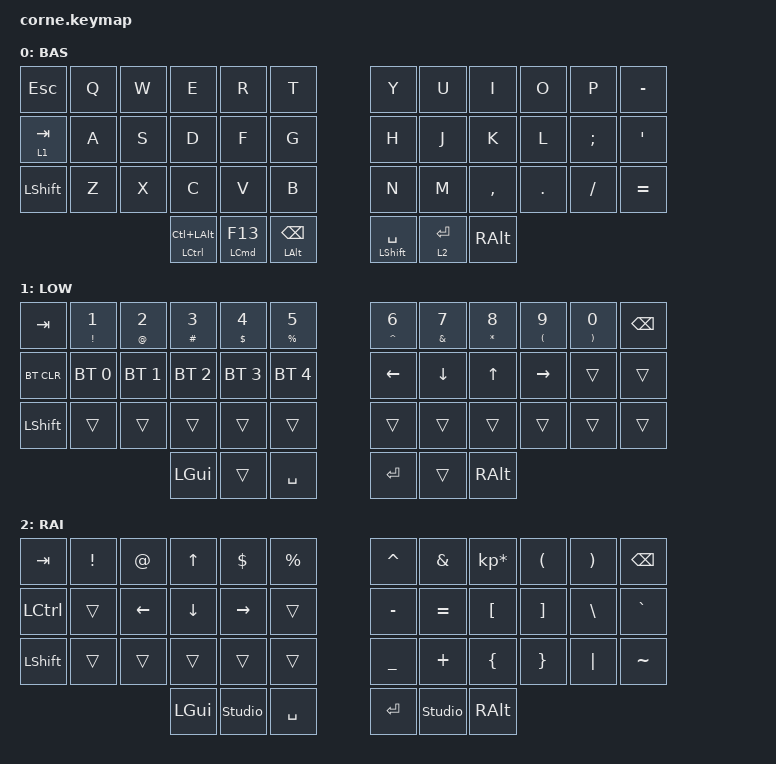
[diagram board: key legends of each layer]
/*
 * Copyright (c) 2020 The ZMK Contributors
 *
 * SPDX-License-Identifier: MIT
 */

#include <dt-bindings/led/led.h>
#include <dt-bindings/zmk/reset.h>
#include <behaviors.dtsi>
#include <dt-bindings/zmk/bt.h>
#include <dt-bindings/zmk/keys.h>

&led_strip { chain-length = <27>; };

/ {
    keymap {
        compatible = "zmk,keymap";

        default_layer {
            display-name = "BAS";

            // -----------------------------------------------------------------------------------------
            // |  TAB |  Q  |  W  |  E  |  R  |  T  |   |  Y  |  U   |  I  |  O  |  P  | BKSP |
            // | CTRL |  A  |  S  |  D  |  F  |  G  |   |  H  |  J   |  K  |  L  |  ;  |  '   |
            // | SHFT |  Z  |  X  |  C  |  V  |  B  |   |  N  |  M   |  ,  |  .  |  /  | ESC  |
            //                    | GUI | LWR | SPC |   | ENT | RSE  | ALT |

            bindings = <
&kp ESCAPE  &kp Q  &kp W  &kp E                          &kp R                 &kp T                     &kp Y                 &kp U      &kp I      &kp O    &kp P     &kp MINUS
&lt 1 TAB   &kp A  &kp S  &kp D                          &kp F                 &kp G                     &kp H                 &kp J      &kp K      &kp L    &kp SEMI  &kp SQT
&kp LSHFT   &kp Z  &kp X  &kp C                          &kp V                 &kp B                     &kp N                 &kp M      &kp COMMA  &kp DOT  &kp FSLH  &kp EQUAL
                          &mt LEFT_CONTROL LC(LEFT_ALT)  &mt LEFT_COMMAND F13  &mt LEFT_ALT BACKSPACE    &mt LEFT_SHIFT SPACE  &lt 2 RET  &kp RALT
            >;
        };

        lower_layer {
            display-name = "LOW";

            // -----------------------------------------------------------------------------------------
            // |  TAB |  1  |  2  |  3  |  4  |  5  |   |  6  |  7  |  8  |  9  |  0  | BKSP |
            // | BTCLR| BT1 | BT2 | BT3 | BT4 | BT5 |   | LFT | DWN |  UP | RGT |     |      |
            // | SHFT |     |     |     |     |     |   |     |     |     |     |     |      |
            //                    | GUI |     | SPC |   | ENT |     | ALT |

            bindings = <
&kp TAB     &mt EXCLAMATION NUMBER_1  &mt AT_SIGN NUMBER_2  &mt HASH NUMBER_3  &mt DOLLAR NUMBER_4  &mt PERCENT N5    &mt CARET NUMBER_6  &mt AMPERSAND N7  &mt ASTERISK N8  &mt LEFT_PARENTHESIS N9  &mt RIGHT_PARENTHESIS N0  &kp BSPC
&bt BT_CLR  &bt BT_SEL 0              &bt BT_SEL 1          &bt BT_SEL 2       &bt BT_SEL 3         &bt BT_SEL 4      &kp LEFT            &kp DOWN          &kp UP           &kp RIGHT                &trans                    &trans
&kp LSHFT   &trans                    &trans                &trans             &trans               &trans            &trans              &trans            &trans           &trans                   &trans                    &trans
                                                            &kp LGUI           &trans               &kp SPACE         &kp RET             &trans            &kp RALT
            >;
        };

        raise_layer {
            display-name = "RAI";

            // -----------------------------------------------------------------------------------------
            // |  TAB |  !  |  @  |  #  |  $  |  %  |   |  ^  |  &  |  *  |  (  |  )  | BKSP |
            // | CTRL |     |     |     |     |     |   |  -  |  =  |  [  |  ]  |  \  |  `   |
            // | SHFT |     |     |     |     |     |   |  _  |  +  |  {  |  }  | "|" |  ~   |
            //                    | GUI |     | SPC |   | ENT |     | ALT |

            bindings = <
&kp TAB    &kp EXCL  &kp AT    &kp UP_ARROW  &kp DLLR        &kp PRCNT    &kp CARET  &kp AMPS        &kp KP_MULTIPLY  &kp LPAR  &kp RPAR  &kp BSPC
&kp LCTRL  &trans    &kp LEFT  &kp DOWN      &kp RIGHT       &trans       &kp MINUS  &kp EQUAL       &kp LBKT         &kp RBKT  &kp BSLH  &kp GRAVE
&kp LSHFT  &trans    &trans    &trans        &trans          &trans       &kp UNDER  &kp PLUS        &kp LBRC         &kp RBRC  &kp PIPE  &kp TILDE
                               &kp LGUI      &studio_unlock  &kp SPACE    &kp RET    &studio_unlock  &kp RALT
            >;
        };

        extra_1 { status = "reserved"; };

        extra_2 { status = "reserved"; };

        extra_3 { status = "reserved"; };
    };
};
